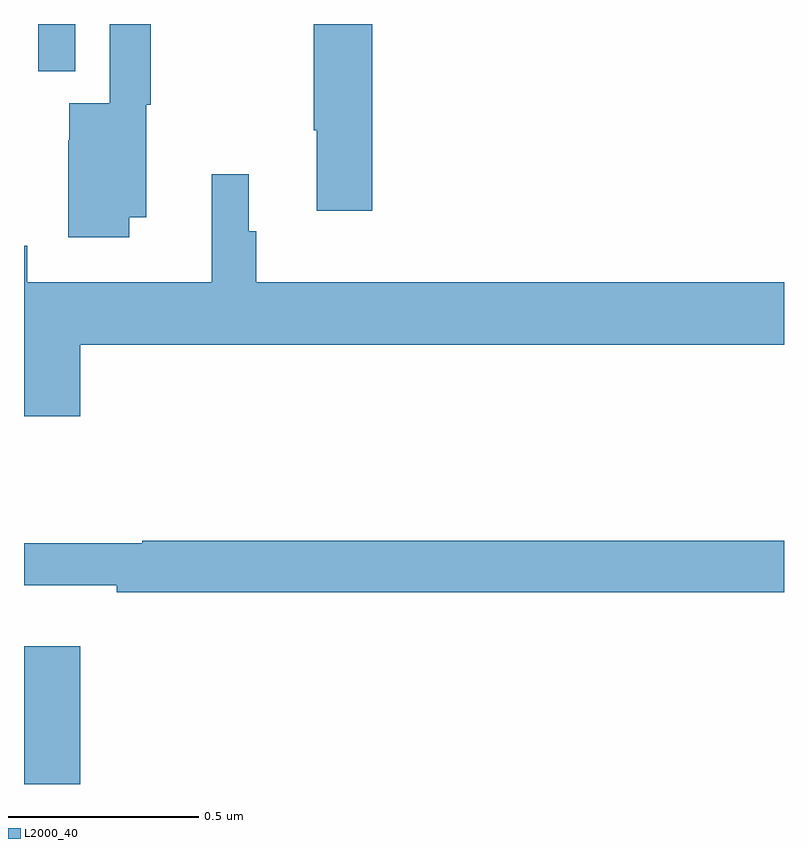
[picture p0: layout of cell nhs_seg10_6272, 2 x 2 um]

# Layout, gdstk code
import gdstk
lib = gdstk.Library(unit=1e-6, precision=1e-09)
def R(c, l, rs):  # rectangles x0, y0, x1, y1
    for r in rs: c.add(gdstk.rectangle(r[:2], r[2:], *l))
def P(c, l, *ps):  # polygons
    for p in ps: c.add(gdstk.Polygon(p, *l))
L2000_40 = (2000, 40)

nhs_seg10_6272 = lib.new_cell('nhs_seg10_6272')
R(nhs_seg10_6272, L2000_40, [(189,1292.5,189.148,1292.863), (189.038,1294.376,189.135,1294.5)])
P(nhs_seg10_6272, L2000_40, [(189.277,1293.992),(189.322,1293.992),(189.322,1294.287),(189.334,1294.287),(189.334,1294.5),(189.225,1294.5),(189.225,1294.291),(189.119,1294.291),(189.119,1294.194),(189.116,1294.194),(189.116,1293.939),(189.277,1293.939)],
  [(189.917,1294.5),(189.763,1294.5),(189.763,1294.22),(189.77,1294.22),(189.77,1294.008),(189.917,1294.008)],
  [(189.148,1293.656),(191,1293.656),(191,1293.82),(189.611,1293.82),(189.611,1293.954),(189.592,1293.954),(189.592,1294.105),(189.494,1294.105),(189.494,1293.82),(189.008,1293.82),(189.008,1293.916),(189,1293.916),(189,1293.468),(189.148,1293.468)],
  [(191,1293.14),(189.311,1293.14),(189.311,1293.133),(189,1293.133),(189,1293.023),(189.244,1293.023),(189.244,1293.004),(191,1293.004)])

lib.write_gds('nhs_seg10_6272.gds')
